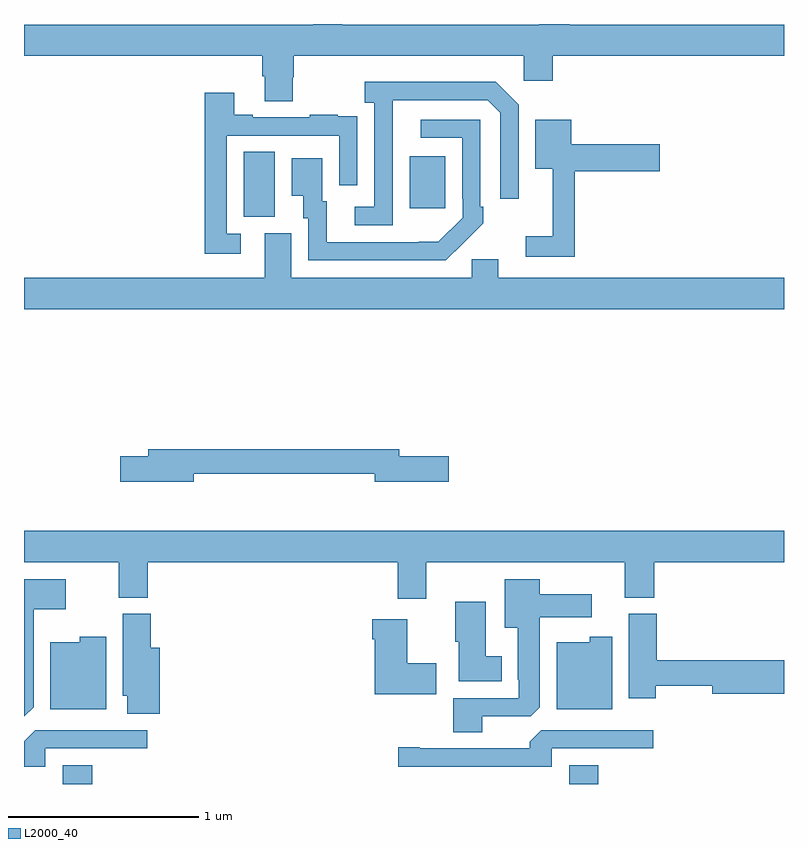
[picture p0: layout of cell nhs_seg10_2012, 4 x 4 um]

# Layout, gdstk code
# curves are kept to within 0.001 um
import gdstk
lib = gdstk.Library(unit=1e-6, precision=1e-09)
def R(c, l, rs):  # rectangles x0, y0, x1, y1
    for r in rs: c.add(gdstk.rectangle(r[:2], r[2:], *l))
def P(c, l, *ps):  # polygons
    for p in ps: c.add(gdstk.Polygon(p, *l))
L2000_40 = (2000, 40)

nhs_seg10_2012 = lib.new_cell('nhs_seg10_2012')
R(nhs_seg10_2012, L2000_40, [(217.205,1280.5,217.358,1280.599), (219.869,1280.5,220.022,1280.599), (218.156,1283.485,218.32,1283.828), (219.029,1283.529,219.217,1283.803)])
P(nhs_seg10_2012, L2000_40, [(218.415,1284.219),(218.42,1284.219),(218.42,1284.332),(219.63,1284.332),(219.63,1284.201),(219.782,1284.201),(219.782,1284.332),(221,1284.332),(221,1284.496),(219.872,1284.496),(219.872,1284.5),(219.712,1284.5),(219.712,1284.496),(218.674,1284.496),(218.674,1284.5),(218.522,1284.5),(218.522,1284.496),(217,1284.496),(217,1284.332),(218.255,1284.332),(218.255,1284.226),(218.267,1284.226),(218.267,1284.094),(218.415,1284.094)],
  [(218.94,1283.899),(218.941,1284.099),(219.441,1284.099),(219.507,1284.033),(219.507,1283.58),(219.603,1283.58),(219.603,1284.075),(219.482,1284.196),(218.793,1284.196),(218.793,1284.086),(218.844,1284.086),(218.844,1283.538),(218.742,1283.538),(218.742,1283.442),(218.94,1283.442)],
  [(218.14,1283.397),(218.067,1283.397),(218.067,1283.913),(218.658,1283.913),(218.658,1283.652),(218.754,1283.652),(218.754,1283.906),(218.753,1283.906),(218.753,1284.015),(218.651,1284.015),(218.651,1284.022),(218.503,1284.022),(218.503,1284.009),(218.203,1284.009),(218.203,1284.022),(218.107,1284.022),(218.107,1284.139),(217.951,1284.139),(217.951,1283.292),(218.14,1283.292)],
  [(219.311,1283.347),(219.312,1283.346),(219.417,1283.451),(219.417,1283.539),(219.402,1283.539),(219.402,1283.997),(219.087,1283.997),(219.087,1283.901),(219.306,1283.901),(219.306,1283.581),(219.309,1283.581),(219.309,1283.481),(219.181,1283.353),(218.593,1283.352),(218.593,1283.568),(218.569,1283.568),(218.569,1283.794),(218.408,1283.794),(218.408,1283.597),(218.471,1283.597),(218.471,1283.478),(218.496,1283.478),(218.496,1283.256),(219.22,1283.256)],
  [(219.899,1283.726),(220.345,1283.726),(220.345,1283.868),(219.88,1283.868),(219.88,1283.995),(219.692,1283.995),(219.692,1283.738),(219.782,1283.738),(219.782,1283.383),(219.642,1283.383),(219.642,1283.274),(219.899,1283.274)],
  [(221,1283.164),(219.496,1283.164),(219.496,1283.262),(219.357,1283.262),(219.357,1283.164),(218.407,1283.164),(218.407,1283.4),(218.267,1283.4),(218.267,1283.164),(217,1283.164),(217,1283),(221,1283)],
  [(217.894,1282.134),(218.846,1282.134),(218.846,1282.091),(219.235,1282.091),(219.235,1282.226),(218.974,1282.226),(218.974,1282.262),(217.655,1282.262),(217.655,1282.226),(217.506,1282.226),(217.506,1282.091),(217.894,1282.091)],
  [(219.118,1281.668),(220.163,1281.668),(220.163,1281.481),(220.316,1281.481),(220.316,1281.668),(221,1281.668),(221,1281.832),(217,1281.832),(217,1281.668),(217.499,1281.668),(217.499,1281.481),(217.652,1281.481),(217.652,1281.668),(218.966,1281.668),(218.966,1281.474),(219.118,1281.474)],
  [(217.051,1280.905),(217.051,1281.419),(217.219,1281.419),(217.219,1281.577),(217,1281.577),(217,1280.856),(217.002,1280.856)],
  [(219.412,1280.856),(219.666,1280.856),(219.715,1280.905),(219.715,1281.377),(219.988,1281.377),(219.988,1281.499),(219.715,1281.499),(219.715,1281.577),(219.53,1281.577),(219.53,1281.323),(219.599,1281.323),(219.599,1281.049),(219.603,1281.049),(219.603,1280.952),(219.26,1280.952),(219.26,1280.773),(219.412,1280.773)],
  [(219.514,1281.172),(219.43,1281.172),(219.43,1281.46),(219.269,1281.46),(219.269,1281.249),(219.287,1281.249),(219.287,1281.041),(219.514,1281.041)],
  [(217.715,1281.217),(217.667,1281.217),(217.667,1281.396),(217.52,1281.396),(217.52,1280.964),(217.544,1280.964),(217.544,1280.869),(217.715,1280.869)],
  [(220.326,1281.016),(220.622,1281.016),(220.622,1280.974),(221,1280.974),(221,1281.152),(220.331,1281.152),(220.331,1281.396),(220.184,1281.396),(220.184,1280.952),(220.326,1280.952)],
  [(219.169,1281.135),(219.016,1281.135),(219.016,1281.367),(218.834,1281.367),(218.834,1281.263),(218.846,1281.263),(218.846,1280.972),(219.169,1280.972)],
  [(217.432,1281.274),(217.293,1281.274),(217.293,1281.247),(217.139,1281.247),(217.139,1280.894),(217.432,1280.894)],
  [(220.096,1281.274),(219.978,1281.274),(219.978,1281.247),(219.803,1281.247),(219.803,1280.894),(220.096,1280.894)],
  [(217.113,1280.688),(217.648,1280.688),(217.648,1280.784),(217.059,1280.784),(217,1280.724),(217,1280.592),(217.113,1280.592)],
  [(219.777,1280.688),(220.312,1280.688),(220.312,1280.784),(219.723,1280.784),(219.662,1280.722),(219.662,1280.688),(219.082,1280.688),(219.082,1280.693),(218.97,1280.693),(218.97,1280.592),(219.777,1280.592)])

lib.write_gds('nhs_seg10_2012.gds')
